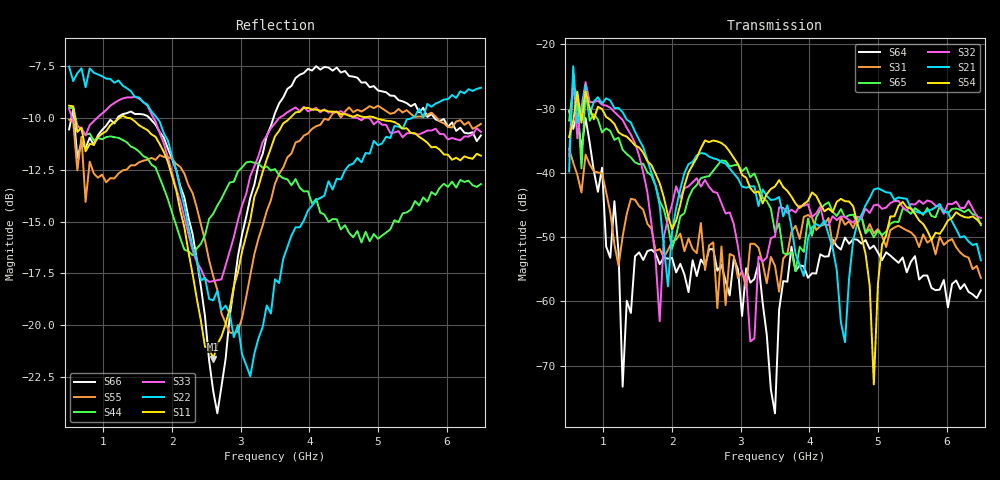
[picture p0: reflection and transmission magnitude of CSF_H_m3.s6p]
!Keysight Technologies,M9804A,MY58100912,A.14.10.03
!Date: Thursday, April 27, 2023 10:28:33
!Correction: S11(C  6-Port  )
!S12(C  6-Port  )
!S13(C  6-Port  )
!S14(C  6-Port  )
!S15(C  6-Port  )
!S16(C  6-Port  )
!S21(C  6-Port  )
!S22(C  6-Port  )
!S23(C  6-Port  )
!S24(C  6-Port  )
!S25(C  6-Port  )
!S26(C  6-Port  )
!S31(C  6-Port  )
!S32(C  6-Port  )
!S33(C  6-Port  )
!S34(C  6-Port  )
!S35(C  6-Port  )
!S36(C  6-Port  )
!S41(C  6-Port  )
!S42(C  6-Port  )
!S43(C  6-Port  )
!S44(C  6-Port  )
!S45(C  6-Port  )
!S46(C  6-Port  )
!S51(C  6-Port  )
!S52(C  6-Port  )
!S53(C  6-Port  )
!S54(C  6-Port  )
!S55(C  6-Port  )
!S56(C  6-Port  )
!S61(C  6-Port  )
!S62(C  6-Port  )
!S63(C  6-Port  )
!S64(C  6-Port  )
!S65(C  6-Port  )
!S66(C  6-Port  )
!S6P File: Measurement: :
# Hz S  RI  R 50
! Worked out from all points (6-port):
!   101 points, 500 MHz to 6.5 GHz, reference 50 ohm
!   strongest paths, dB at 500 MHz, 2 GHz, 3.5 GHz, 5 GHz, 6.5 GHz:
!     S54: -34.4, -48.8, -42.1, -57.3, -48.0
!     S21: -39.8, -49.2, -44.1, -42.4, -53.6
!     S32: -37.4, -44.9, -49.9, -45.0, -47.0
!     S65: -31.9, -51.8, -49.3, -49.0, -48.2
!     S31: -36.3, -50.7, -54.5, -48.8, -56.4
!     S64: -30.4, -53.3, -77.4, -52.4, -58.3
!   lowest |S11| = -21.6 dB at 2.6 GHz (marker M1), VSWR 1.18, Z = 42.6 + j2.04 ohm
!   |S11| at or under -10 dB: 587.7 MHz to 1.234 GHz (646.3 MHz wide, 71 % of centre); 1.381 GHz to 3.716 GHz (2.335 GHz wide, 91.6 % of centre); 4.974 GHz to end of sweep
